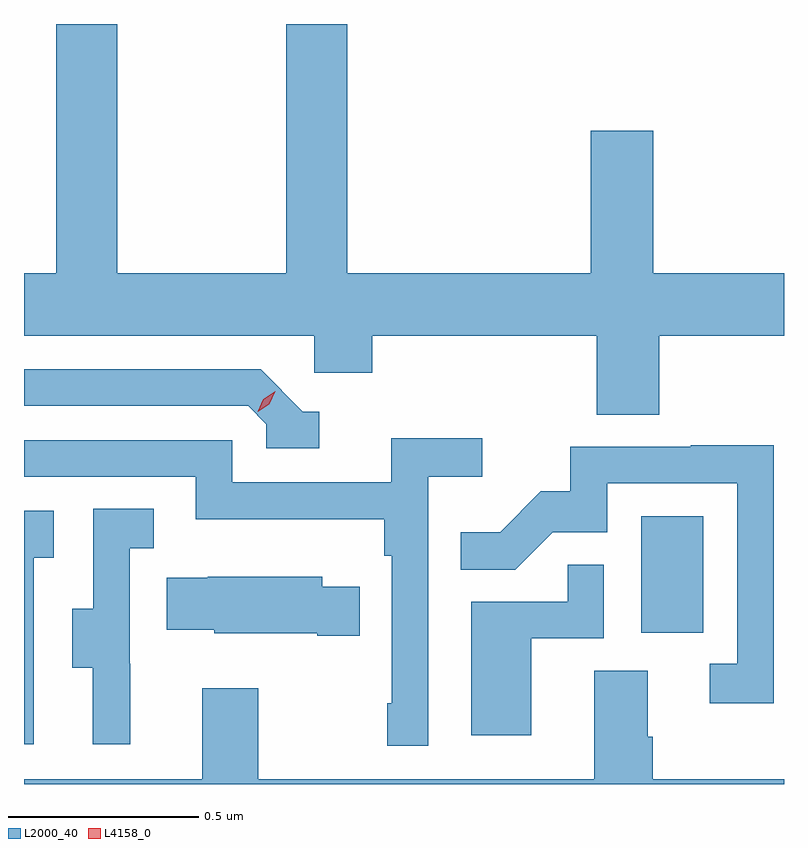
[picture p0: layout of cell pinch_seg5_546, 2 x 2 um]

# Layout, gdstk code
import gdstk
lib = gdstk.Library(unit=1e-6, precision=1e-09)
def R(c, l, rs):  # rectangles x0, y0, x1, y1
    for r in rs: c.add(gdstk.rectangle(r[:2], r[2:], *l))
def P(c, l, *ps):  # polygons
    for p in ps: c.add(gdstk.Polygon(p, *l))
L2000_40 = (2000, 40)
L4158_0 = (4158, 0)

pinch_seg5_546 = lib.new_cell('pinch_seg5_546')
R(pinch_seg5_546, L2000_40, [(956.348,838.662,956.512,838.969)])
P(pinch_seg5_546, L2000_40, [(956.396,839.444),(956.724,839.444),(956.724,839.608),(956.38,839.608),(956.38,839.983),(956.216,839.983),(956.216,839.608),(955.574,839.608),(955.574,840.264),(955.414,840.264),(955.414,839.608),(954.969,839.608),(954.969,840.264),(954.809,840.264),(954.809,839.608),(954.724,839.608),(954.724,839.444),(955.488,839.444),(955.488,839.346),(955.64,839.346),(955.64,839.444),(956.231,839.444),(956.231,839.236),(956.396,839.236)],
  [(955.501,839.244),(955.458,839.244),(955.347,839.355),(954.724,839.355),(954.724,839.259),(955.314,839.259),(955.362,839.211),(955.362,839.148),(955.501,839.148)],
  [(955.788,839.072),(955.93,839.072),(955.93,839.174),(955.691,839.174),(955.691,839.058),(955.272,839.058),(955.272,839.169),(954.724,839.169),(954.724,839.073),(955.176,839.073),(955.176,838.961),(955.672,838.961),(955.672,838.865),(955.692,838.865),(955.692,838.477),(955.68,838.477),(955.68,838.365),(955.788,838.365)],
  [(956.697,839.156),(956.479,839.156),(956.479,839.151),(956.161,839.151),(956.161,839.034),(956.084,839.034),(955.977,838.927),(955.873,838.927),(955.873,838.828),(956.017,838.828),(956.115,838.926),(956.259,838.926),(956.259,839.055),(956.601,839.055),(956.601,838.581),(956.529,838.581),(956.529,838.476),(956.697,838.476)],
  [(955.004,838.581),(955.002,838.581),(955.002,838.885),(955.066,838.885),(955.066,838.988),(954.906,838.988),(954.906,838.725),(954.851,838.725),(954.851,838.57),(954.905,838.57),(954.905,838.368),(955.004,838.368)],
  [(954.75,838.859),(954.802,838.859),(954.802,838.983),(954.724,838.983),(954.724,838.368),(954.75,838.368)],
  [(956.059,838.647),(956.25,838.647),(956.25,838.841),(956.155,838.841),(956.155,838.743),(955.901,838.743),(955.901,838.392),(956.059,838.392)],
  [(955.607,838.783),(955.509,838.783),(955.509,838.81),(955.207,838.81),(955.207,838.807),(955.099,838.807),(955.099,838.67),(955.224,838.67),(955.224,838.661),(955.496,838.661),(955.496,838.654),(955.607,838.654)],
  [(956.724,838.276),(956.378,838.276),(956.378,838.388),(956.365,838.388),(956.365,838.562),(956.225,838.562),(956.225,838.276),(955.341,838.276),(955.341,838.516),(955.193,838.516),(955.193,838.276),(954.724,838.276),(954.724,838.264),(956.724,838.264)])
P(pinch_seg5_546, L4158_0, [(955.339,839.244),(955.339,839.244),(955.354,839.277),(955.385,839.297),(955.385,839.297),(955.385,839.297),(955.37,839.264),(955.339,839.244)])

lib.write_gds('pinch_seg5_546.gds')
